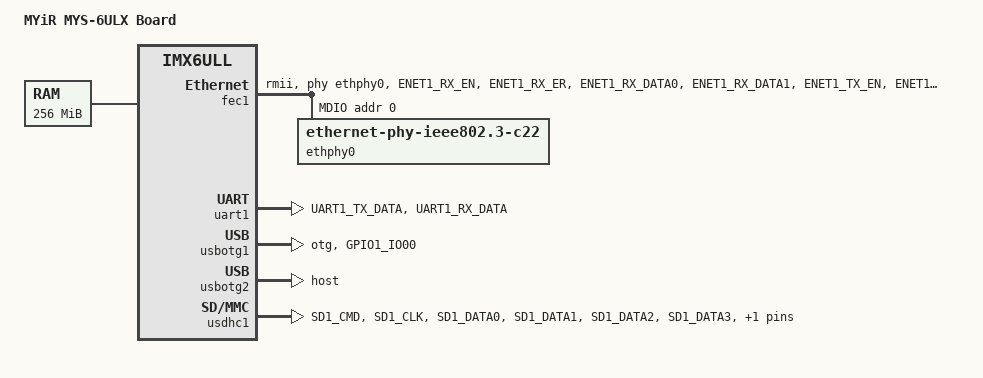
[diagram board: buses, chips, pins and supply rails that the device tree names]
/*
 * Copyright (C) 2016 Freescale Semiconductor, Inc.
 * Copyright (C) 2018 Sven Schwermer
 *
 * This program is free software; you can redistribute it and/or modify
 * it under the terms of the GNU General Public License version 2 as
 * published by the Free Software Foundation.
 */

/dts-v1/;

#include <dt-bindings/input/input.h>
#include "imx6ull.dtsi"

/ {
	model = "MYiR MYS-6ULX Board";
	compatible = "myir,mys6ulx", "fsl,imx6ull";

	chosen {
		stdout-path = &uart1;
	};

	memory {
		reg = <0x80000000 0x10000000>;
	};
};

&fec1 {
	pinctrl-names = "default";
	pinctrl-0 = <&pinctrl_enet1>;
	phy-mode = "rmii";
	phy-reset-gpios = <&gpio5 6 GPIO_ACTIVE_LOW>;
	phy-reset-duration = <1>;
	phy-handle = <&ethphy0>;
	status = "okay";

	mdio {
		#address-cells = <1>;
		#size-cells = <0>;

		ethphy0: ethernet-phy@0 {
			compatible = "ethernet-phy-ieee802.3-c22";
			reg = <0>;
		};
	};
};

&iomuxc {
	pinctrl-names = "default";
	pinctrl-0 = <&pinctrl_hog_1>;

	pinctrl_hog_1: hoggrp-1 {
		fsl,pins = <
			/* SD1 CD */
			MX6UL_PAD_UART1_RTS_B__GPIO1_IO19 0x17059
		>;
	};

	pinctrl_enet1: enet1grp {
		fsl,pins = <
			MX6UL_PAD_ENET1_RX_EN__ENET1_RX_EN      0x1b0b0
			MX6UL_PAD_ENET1_RX_ER__ENET1_RX_ER      0x1b0b0
			MX6UL_PAD_ENET1_RX_DATA0__ENET1_RDATA00 0x1b0b0
			MX6UL_PAD_ENET1_RX_DATA1__ENET1_RDATA01 0x1b0b0
			MX6UL_PAD_ENET1_TX_EN__ENET1_TX_EN      0x1b0b0
			MX6UL_PAD_ENET1_TX_DATA0__ENET1_TDATA00 0x1b0b0
			MX6UL_PAD_ENET1_TX_DATA1__ENET1_TDATA01 0x1b0b0
			MX6UL_PAD_ENET1_TX_CLK__ENET1_REF_CLK1  0x4001b031
		>;
	};

	pinctrl_uart1: uart1grp {
		fsl,pins = <
			MX6UL_PAD_UART1_TX_DATA__UART1_DCE_TX 0x1b0b1
			MX6UL_PAD_UART1_RX_DATA__UART1_DCE_RX 0x1b0b1
		>;
	};

	pinctrl_usb_otg1_id: usbotg1idgrp {
		fsl,pins = <
			MX6UL_PAD_GPIO1_IO00__ANATOP_OTG1_ID 0x17059
		>;
	};

	pinctrl_usdhc1: usdhc1grp {
		fsl,pins = <
			MX6UL_PAD_SD1_CMD__USDHC1_CMD     0x17059
			MX6UL_PAD_SD1_CLK__USDHC1_CLK     0x10071
			MX6UL_PAD_SD1_DATA0__USDHC1_DATA0 0x17059
			MX6UL_PAD_SD1_DATA1__USDHC1_DATA1 0x17059
			MX6UL_PAD_SD1_DATA2__USDHC1_DATA2 0x17059
			MX6UL_PAD_SD1_DATA3__USDHC1_DATA3 0x17059
		>;
	};

	pinctrl_usdhc1_100mhz: usdhc1grp100mhz {
		fsl,pins = <
			MX6UL_PAD_SD1_CMD__USDHC1_CMD     0x170b9
			MX6UL_PAD_SD1_CLK__USDHC1_CLK     0x100b9
			MX6UL_PAD_SD1_DATA0__USDHC1_DATA0 0x170b9
			MX6UL_PAD_SD1_DATA1__USDHC1_DATA1 0x170b9
			MX6UL_PAD_SD1_DATA2__USDHC1_DATA2 0x170b9
			MX6UL_PAD_SD1_DATA3__USDHC1_DATA3 0x170b9
		>;
	};

	pinctrl_usdhc1_200mhz: usdhc1grp200mhz {
		fsl,pins = <
			MX6UL_PAD_SD1_CMD__USDHC1_CMD     0x170f9
			MX6UL_PAD_SD1_CLK__USDHC1_CLK     0x100f9
			MX6UL_PAD_SD1_DATA0__USDHC1_DATA0 0x170f9
			MX6UL_PAD_SD1_DATA1__USDHC1_DATA1 0x170f9
			MX6UL_PAD_SD1_DATA2__USDHC1_DATA2 0x170f9
			MX6UL_PAD_SD1_DATA3__USDHC1_DATA3 0x170f9
		>;
	};
};

&iomuxc_snvs {
	pinctrl-names = "default_snvs";
	pinctrl-0 = <&pinctrl_hog_2>;

	pinctrl_hog_2: hoggrp-2 {		
		fsl,pins = <
			MX6ULL_PAD_SNVS_TAMPER6__GPIO5_IO06 0xa0
		>;
	};
};

&uart1 {
	pinctrl-names = "default";
	pinctrl-0 = <&pinctrl_uart1>;
	status = "okay";
};

&usbotg1 {
	pinctrl-names = "default";
	pinctrl-0 = <&pinctrl_usb_otg1_id>;
	dr_mode = "otg";
	srp-disable;
	hnp-disable;
	adp-disable;
	status = "okay";
};

&usbotg2 {
	dr_mode = "host";
	disable-over-current;
	status = "okay";
};

&usbphy1 {
	tx-d-cal = <0x5>;
};

&usbphy2 {
	tx-d-cal = <0x5>;
};

&usdhc1 {
	pinctrl-names = "default", "state_100mhz", "state_200mhz";
	pinctrl-0 = <&pinctrl_usdhc1>;
	pinctrl-1 = <&pinctrl_usdhc1_100mhz>;
	pinctrl-2 = <&pinctrl_usdhc1_200mhz>;
	cd-gpios = <&gpio1 19 GPIO_ACTIVE_LOW>;
	keep-power-in-suspend;
	enable-sdio-wakeup;
	status = "okay";
};

